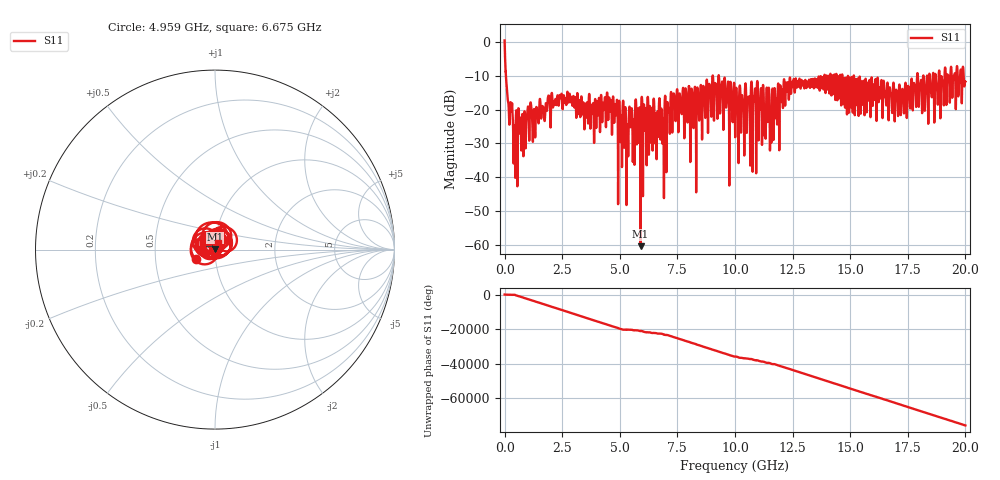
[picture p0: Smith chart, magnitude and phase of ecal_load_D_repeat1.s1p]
! MS46122B
! 2250307/22442219
! 7/25/2025 1:43:07 PM
! C:\USERS\SPARKY\DOCUMENTS\VNA_DATA\JULY25_2025\3K\ECAL_LOAD_D_REPEAT1.S1P
! CHANNEL.1
! TR.MEASUREMENT
! RAW.DATA
# GHZ S RI R 50.0
! FREQ.GHZ  S11RE  S11IM
!; PortSelection: Port_1
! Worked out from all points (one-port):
!   10001 points, 1 MHz to 20 GHz, reference 50 ohm
!   lowest |S11| = -60.3 dB at 5.905 GHz (marker M1), VSWR 1.00, Z = 50 + j0.0906 ohm
!   |S11| at or under -10 dB: 56.97 MHz to 9.029 GHz (8.972 GHz wide, 197 % of centre); 9.3 GHz to 13.88 GHz (4.579 GHz wide, 39.5 % of centre); 15.16 GHz to 17.9 GHz (2.744 GHz wide, 16.6 % of centre) (the widest 3 of 27)
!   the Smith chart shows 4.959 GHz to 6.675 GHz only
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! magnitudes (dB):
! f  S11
! 1 MHz  0.4
! 143 MHz  -17.3
! 469 MHz  -33.4
! 1.077 GHz  -27.4
! 1.271 GHz  -20.1
! 2.501 GHz  -17.8
! 3.807 GHz  -21.0
! 4.527 GHz  -17.2
! 5.001 GHz  -20.7
! 5.167 GHz  -19.5
! 5.283 GHz  -33.6
! 5.455 GHz  -22.9
! 5.905 GHz  -60.3
! 6.597 GHz  -34.6
! 6.725 GHz  -16.7
! 6.845 GHz  -29.3
! 7.291 GHz  -21.5
! 7.501 GHz  -14.5
! 8.389 GHz  -14.6
! 9.101 GHz  -18.5
! 10 GHz  -22.6
! 10.08 GHz  -17.2
! 10.9 GHz  -17.8
! 11.59 GHz  -21.2
! 12.5 GHz  -13.2
! 15 GHz  -11.1
! 17.5 GHz  -13.4
! 20 GHz  -11.8
